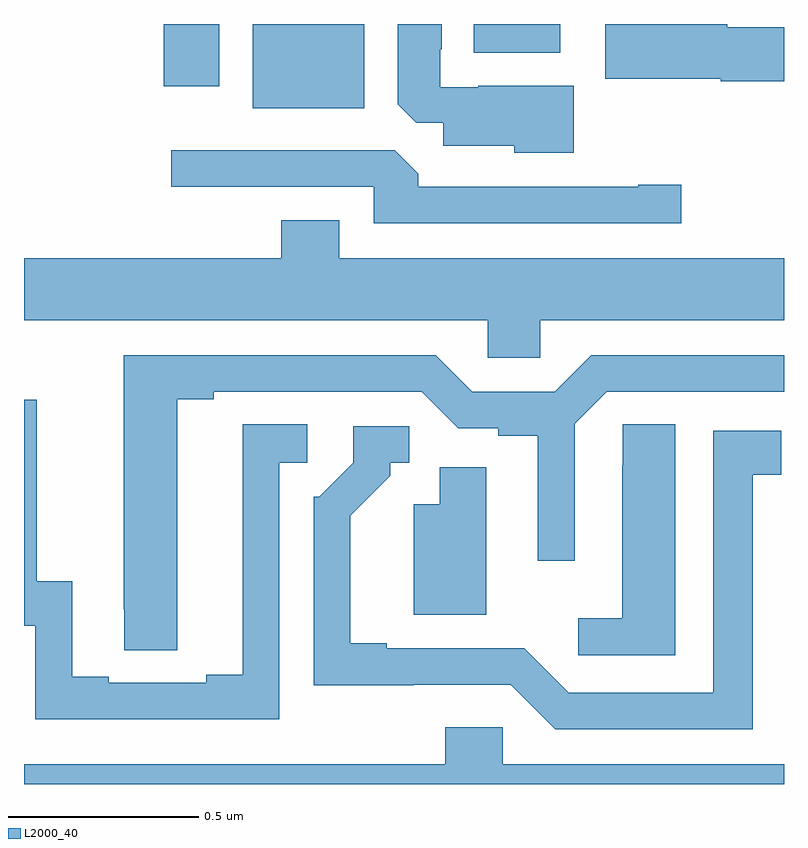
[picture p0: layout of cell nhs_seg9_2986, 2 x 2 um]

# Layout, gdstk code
import gdstk
lib = gdstk.Library(unit=1e-6, precision=1e-09)
def R(c, l, rs):  # rectangles x0, y0, x1, y1
    for r in rs: c.add(gdstk.rectangle(r[:2], r[2:], *l))
def P(c, l, *ps):  # polygons
    for p in ps: c.add(gdstk.Polygon(p, *l))
L2000_40 = (2000, 40)

nhs_seg9_2986 = lib.new_cell('nhs_seg9_2986')
R(nhs_seg9_2986, L2000_40, [(147.602,1230.278,147.895,1230.5), (147.368,1230.336,147.514,1230.5), (148.184,1230.425,148.411,1230.5)])
P(nhs_seg9_2986, L2000_40, [(148.447,1230.337),(148.195,1230.337),(148.195,1230.333),(148.095,1230.333),(148.095,1230.433),(148.099,1230.433),(148.099,1230.5),(147.983,1230.5),(147.983,1230.289),(148.032,1230.24),(148.103,1230.24),(148.103,1230.179),(148.29,1230.179),(148.29,1230.161),(148.447,1230.161)],
  [(149,1230.491),(148.85,1230.491),(148.85,1230.5),(148.53,1230.5),(148.53,1230.356),(148.833,1230.356),(148.833,1230.349),(149,1230.349)],
  [(148.729,1230.077),(148.616,1230.077),(148.616,1230.072),(148.037,1230.072),(148.037,1230.106),(147.975,1230.168),(147.387,1230.168),(147.387,1230.072),(147.921,1230.072),(147.921,1229.976),(148.729,1229.976)],
  [(148.359,1229.72),(149,1229.72),(149,1229.884),(147.829,1229.884),(147.829,1229.983),(147.677,1229.983),(147.677,1229.884),(147,1229.884),(147,1229.72),(148.221,1229.72),(148.221,1229.622),(148.359,1229.622)],
  [(147.403,1229.512),(147.499,1229.512),(147.499,1229.532),(148.047,1229.532),(148.143,1229.436),(148.248,1229.436),(148.248,1229.416),(148.352,1229.416),(148.352,1229.088),(148.449,1229.088),(148.449,1229.448),(148.533,1229.532),(149,1229.532),(149,1229.628),(148.493,1229.628),(148.397,1229.532),(148.179,1229.532),(148.083,1229.628),(147.263,1229.628),(147.263,1228.96),(147.264,1228.96),(147.264,1228.852),(147.403,1228.852)],
  [(147.672,1229.346),(147.745,1229.346),(147.745,1229.447),(147.575,1229.447),(147.575,1228.787),(147.479,1228.787),(147.479,1228.767),(147.223,1228.767),(147.223,1228.782),(147.127,1228.782),(147.127,1229.033),(147.033,1229.033),(147.033,1229.511),(147,1229.511),(147,1228.917),(147.03,1228.917),(147.03,1228.671),(147.672,1228.671)],
  [(148.714,1229.447),(148.575,1229.447),(148.575,1229.339),(148.574,1229.339),(148.574,1228.936),(148.458,1228.936),(148.458,1228.839),(148.714,1228.839)],
  [(148.918,1229.314),(148.993,1229.314),(148.993,1229.43),(148.814,1229.43),(148.814,1228.74),(148.434,1228.74),(148.317,1228.857),(147.955,1228.857),(147.955,1228.87),(147.859,1228.87),(147.859,1229.206),(147.964,1229.311),(147.964,1229.346),(148.014,1229.346),(148.014,1229.442),(147.867,1229.442),(147.867,1229.346),(147.777,1229.256),(147.762,1229.256),(147.762,1228.76),(148.025,1228.76),(148.025,1228.761),(148.281,1228.761),(148.398,1228.644),(148.918,1228.644)],
  [(148.216,1229.334),(148.094,1229.334),(148.094,1229.236),(148.025,1229.236),(148.025,1228.946),(148.216,1228.946)],
  [(149,1228.552),(148.26,1228.552),(148.26,1228.65),(148.109,1228.65),(148.109,1228.552),(147,1228.552),(147,1228.5),(149,1228.5)])

lib.write_gds('nhs_seg9_2986.gds')
